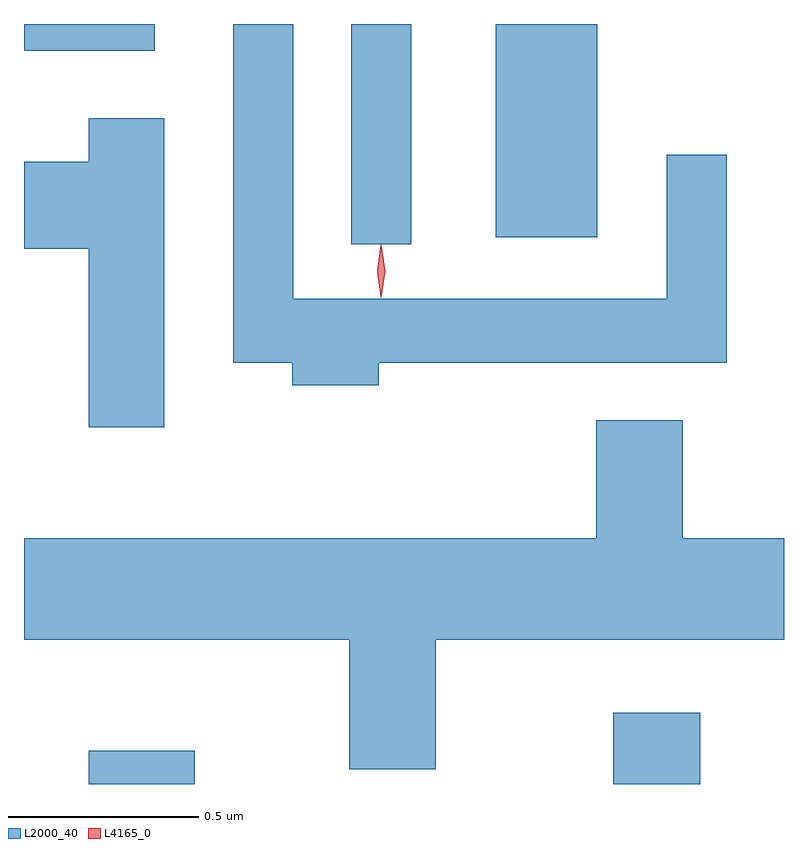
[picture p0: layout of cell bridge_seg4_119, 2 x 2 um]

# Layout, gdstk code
import gdstk
lib = gdstk.Library(unit=1e-6, precision=1e-09)
def R(c, l, rs):  # rectangles x0, y0, x1, y1
    for r in rs: c.add(gdstk.rectangle(r[:2], r[2:], *l))
def P(c, l, *ps):  # polygons
    for p in ps: c.add(gdstk.Polygon(p, *l))
L2000_40 = (2000, 40)
L4165_0 = (4165, 0)

bridge_seg4_119 = lib.new_cell('bridge_seg4_119')
R(bridge_seg4_119, L2000_40, [(805.816,1334.317,806.094,1334.404), (807.196,1334.317,807.424,1334.504), (806.506,1335.738,806.664,1336.317), (806.886,1335.756,807.154,1336.317), (805.645,1336.246,805.989,1336.317)])
P(bridge_seg4_119, L2000_40, [(806.579,1335.426),(807.494,1335.426),(807.494,1335.973),(807.336,1335.973),(807.336,1335.594),(806.354,1335.594),(806.354,1336.317),(806.196,1336.317),(806.196,1335.426),(806.351,1335.426),(806.351,1335.366),(806.579,1335.366)],
  [(806.014,1336.069),(805.816,1336.069),(805.816,1335.954),(805.645,1335.954),(805.645,1335.726),(805.816,1335.726),(805.816,1335.256),(806.014,1335.256)],
  [(806.729,1334.696),(807.645,1334.696),(807.645,1334.964),(807.379,1334.964),(807.379,1335.274),(807.151,1335.274),(807.151,1334.964),(805.645,1334.964),(805.645,1334.696),(806.501,1334.696),(806.501,1334.356),(806.729,1334.356)])
P(bridge_seg4_119, L4165_0, [(806.585,1335.597),(806.584,1335.598),(806.575,1335.667),(806.584,1335.736),(806.585,1335.736),(806.585,1335.736),(806.595,1335.667),(806.585,1335.598)])

lib.write_gds('bridge_seg4_119.gds')
